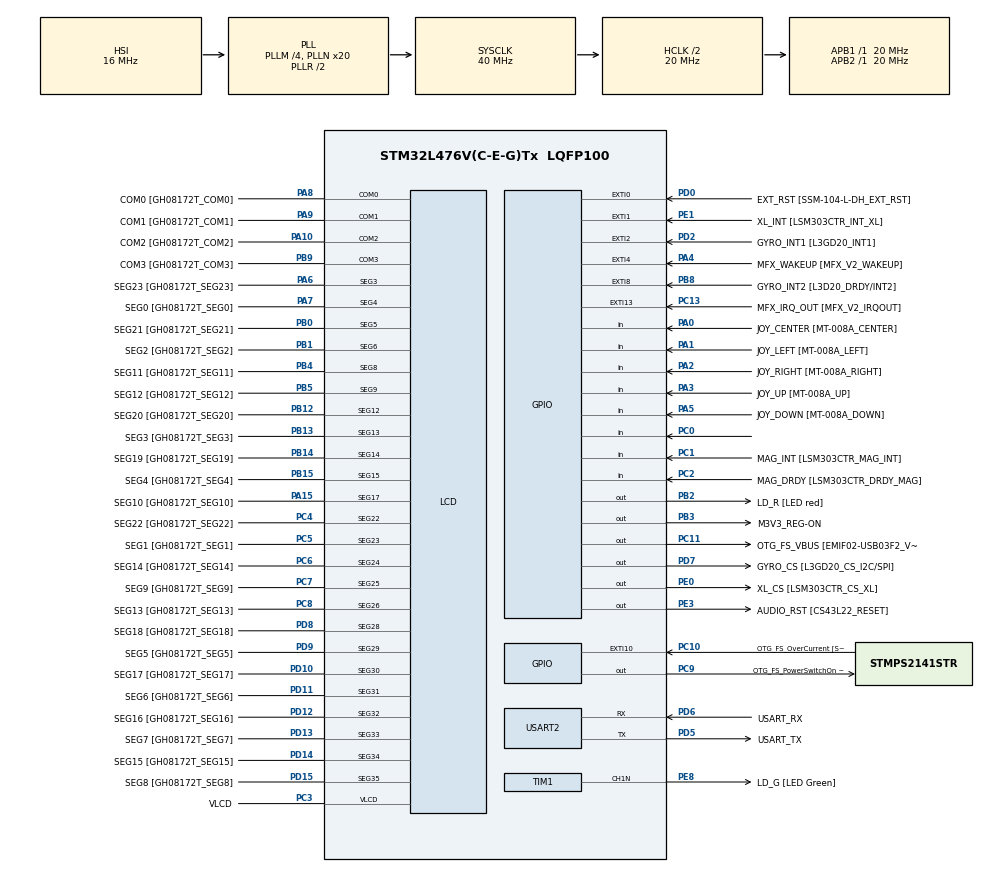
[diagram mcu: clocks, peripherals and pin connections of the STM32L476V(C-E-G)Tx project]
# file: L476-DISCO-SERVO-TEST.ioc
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Mcu.Family=STM32L4
Mcu.Name=STM32L476V(C-E-G)Tx
Mcu.Package=LQFP100
NVIC.PriorityGroup=NVIC_PRIORITYGROUP_4
PA0.GPIO_Label=JOY_CENTER [MT-008A_CENTER]
PA0.GPIO_Mode=GPIO_MODE_INPUT
PA0.GPIO_PuPd=GPIO_PULLDOWN
PA0.Signal=GPIO_Input
PA1.GPIO_Label=JOY_LEFT [MT-008A_LEFT]
PA1.GPIO_Mode=GPIO_MODE_INPUT
PA1.GPIO_PuPd=GPIO_PULLDOWN
PA1.Signal=GPIO_Input
PA10.GPIO_Label=COM2 [GH08172T_COM2]
PA10.GPIO_Mode=GPIO_MODE_AF_PP
PA10.GPIO_PuPd=GPIO_NOPULL
PA10.GPIO_Speed=GPIO_SPEED_FREQ_LOW
PA10.Mode=1/4 Duty Cycle
PA10.Signal=LCD_COM2
PA13\ (JTMS-SWDIO).GPIO_Label=SWDIO
PA13\ (JTMS-SWDIO).Mode=Serial_Wire
PA13\ (JTMS-SWDIO).Signal=SYS_JTMS-SWDIO
PA14\ (JTCK-SWCLK).GPIO_Label=SWCLK
PA14\ (JTCK-SWCLK).Mode=Serial_Wire
PA14\ (JTCK-SWCLK).Signal=SYS_JTCK-SWCLK
PA15\ (JTDI).GPIO_Label=SEG10 [GH08172T_SEG10]
PA15\ (JTDI).GPIO_Mode=GPIO_MODE_AF_PP
PA15\ (JTDI).GPIO_PuPd=GPIO_NOPULL
PA15\ (JTDI).GPIO_Speed=GPIO_SPEED_FREQ_LOW
PA15\ (JTDI).Mode=SEG17
PA15\ (JTDI).Signal=LCD_SEG17
PA2.GPIO_Label=JOY_RIGHT [MT-008A_RIGHT]
PA2.GPIO_Mode=GPIO_MODE_INPUT
PA2.GPIO_PuPd=GPIO_PULLDOWN
PA2.Signal=GPIO_Input
PA3.GPIO_Label=JOY_UP [MT-008A_UP]
PA3.GPIO_Mode=GPIO_MODE_INPUT
PA3.GPIO_PuPd=GPIO_PULLDOWN
PA3.Signal=GPIO_Input
PA4.GPIO_Label=MFX_WAKEUP [MFX_V2_WAKEUP]
PA4.GPIO_ModeDefaultEXTI=GPIO_MODE_EVT_RISING
PA4.GPIO_PuPd=GPIO_NOPULL
PA4.Signal=GPXTI4
PA5.GPIO_Label=JOY_DOWN [MT-008A_DOWN]
PA5.GPIO_Mode=GPIO_MODE_INPUT
PA5.GPIO_PuPd=GPIO_PULLDOWN
PA5.Signal=GPIO_Input
PA6.GPIO_Label=SEG23 [GH08172T_SEG23]
PA6.GPIO_Mode=GPIO_MODE_AF_PP
PA6.GPIO_PuPd=GPIO_NOPULL
PA6.GPIO_Speed=GPIO_SPEED_FREQ_LOW
PA6.Mode=SEG3
PA6.Signal=LCD_SEG3
PA7.GPIO_Label=SEG0 [GH08172T_SEG0]
PA7.GPIO_Mode=GPIO_MODE_AF_PP
PA7.GPIO_PuPd=GPIO_NOPULL
PA7.GPIO_Speed=GPIO_SPEED_FREQ_LOW
PA7.Mode=SEG4
PA7.Signal=LCD_SEG4
PA8.GPIO_Label=COM0 [GH08172T_COM0]
PA8.GPIO_Mode=GPIO_MODE_AF_PP
PA8.GPIO_PuPd=GPIO_NOPULL
PA8.GPIO_Speed=GPIO_SPEED_FREQ_LOW
PA8.Mode=1/4 Duty Cycle
PA8.Signal=LCD_COM0
PA9.GPIO_Label=COM1 [GH08172T_COM1]
PA9.GPIO_Mode=GPIO_MODE_AF_PP
PA9.GPIO_PuPd=GPIO_NOPULL
PA9.GPIO_Speed=GPIO_SPEED_FREQ_LOW
PA9.Mode=1/4 Duty Cycle
PA9.Signal=LCD_COM1
PB0.GPIO_Label=SEG21 [GH08172T_SEG21]
PB0.GPIO_Mode=GPIO_MODE_AF_PP
PB0.GPIO_PuPd=GPIO_NOPULL
PB0.GPIO_Speed=GPIO_SPEED_FREQ_LOW
PB0.Mode=SEG5
PB0.Signal=LCD_SEG5
PB1.GPIO_Label=SEG2 [GH08172T_SEG2]
PB1.GPIO_Mode=GPIO_MODE_AF_PP
PB1.GPIO_PuPd=GPIO_NOPULL
PB1.GPIO_Speed=GPIO_SPEED_FREQ_LOW
PB1.Mode=SEG6
PB1.Signal=LCD_SEG6
PB12.GPIO_Label=SEG20 [GH08172T_SEG20]
PB12.GPIO_Mode=GPIO_MODE_AF_PP
PB12.GPIO_PuPd=GPIO_NOPULL
PB12.GPIO_Speed=GPIO_SPEED_FREQ_LOW
PB12.Mode=SEG12
PB12.Signal=LCD_SEG12
PB13.GPIO_Label=SEG3 [GH08172T_SEG3]
PB13.GPIO_Mode=GPIO_MODE_AF_PP
PB13.GPIO_PuPd=GPIO_NOPULL
PB13.GPIO_Speed=GPIO_SPEED_FREQ_LOW
PB13.Mode=SEG13
PB13.Signal=LCD_SEG13
PB14.GPIO_Label=SEG19 [GH08172T_SEG19]
PB14.GPIO_Mode=GPIO_MODE_AF_PP
PB14.GPIO_PuPd=GPIO_NOPULL
PB14.GPIO_Speed=GPIO_SPEED_FREQ_LOW
PB14.Mode=SEG14
PB14.Signal=LCD_SEG14
PB15.GPIO_Label=SEG4 [GH08172T_SEG4]
PB15.GPIO_Mode=GPIO_MODE_AF_PP
PB15.GPIO_PuPd=GPIO_NOPULL
PB15.GPIO_Speed=GPIO_SPEED_FREQ_LOW
PB15.Mode=SEG15
PB15.Signal=LCD_SEG15
PB2.GPIO_Label=LD_R [LED red]
PB2.GPIO_ModeDefaultOutputPP=GPIO_MODE_OUTPUT_PP
PB2.GPIO_PuPd=GPIO_PULLUP
PB2.GPIO_Speed=GPIO_SPEED_FREQ_VERY_HIGH
PB2.Signal=GPIO_Output
PB3\ (JTDO-TRACESWO).GPIO_Label=M3V3_REG-ON
PB3\ (JTDO-TRACESWO).GPIO_ModeDefaultOutputPP=GPIO_MODE_OUTPUT_PP
PB3\ (JTDO-TRACESWO).GPIO_PuPd=GPIO_NOPULL
PB3\ (JTDO-TRACESWO).GPIO_Speed=GPIO_SPEED_FREQ_LOW
PB3\ (JTDO-TRACESWO).Signal=GPIO_Output
PB4\ (NJTRST).GPIO_Label=SEG11 [GH08172T_SEG11]
PB4\ (NJTRST).GPIO_Mode=GPIO_MODE_AF_PP
PB4\ (NJTRST).GPIO_PuPd=GPIO_NOPULL
PB4\ (NJTRST).GPIO_Speed=GPIO_SPEED_FREQ_LOW
PB4\ (NJTRST).Mode=SEG8
PB4\ (NJTRST).Signal=LCD_SEG8
PB5.GPIO_Label=SEG12 [GH08172T_SEG12]
PB5.GPIO_Mode=GPIO_MODE_AF_PP
PB5.GPIO_PuPd=GPIO_NOPULL
PB5.GPIO_Speed=GPIO_SPEED_FREQ_LOW
PB5.Mode=SEG9
PB5.Signal=LCD_SEG9
PB8.GPIO_Label=GYRO_INT2 [L3D20_DRDY/INT2]
PB8.GPIO_ModeDefaultEXTI=GPIO_MODE_EVT_RISING
PB8.GPIO_PuPd=GPIO_NOPULL
PB8.Signal=GPXTI8
PB9.GPIO_FM9=__NULL
PB9.GPIO_Label=COM3 [GH08172T_COM3]
PB9.GPIO_Mode=GPIO_MODE_AF_PP
PB9.GPIO_PuPd=GPIO_NOPULL
PB9.GPIO_Speed=GPIO_SPEED_FREQ_LOW
PB9.Mode=1/4 Duty Cycle
PB9.Signal=LCD_COM3
PC0.Signal=GPIO_Input
PC1.GPIO_Label=MAG_INT [LSM303CTR_MAG_INT]
PC1.GPIO_Mode=GPIO_MODE_INPUT
PC1.GPIO_PuPd=GPIO_NOPULL
PC1.Signal=GPIO_Input
PC10.GPIO_Label=OTG_FS_OverCurrent [STMPS2141STR_FAULT]
PC10.GPIO_ModeDefaultEXTI=GPIO_MODE_EVT_RISING
PC10.GPIO_PuPd=GPIO_NOPULL
PC10.Signal=GPXTI10
PC11.GPIO_Label=OTG_FS_VBUS [EMIF02-USB03F2_Vbus]
PC11.GPIO_ModeDefaultOutputPP=GPIO_MODE_OUTPUT_PP
PC11.GPIO_PuPd=GPIO_NOPULL
PC11.GPIO_Speed=GPIO_SPEED_FREQ_LOW
PC11.Signal=GPIO_Output
PC13.GPIO_Label=MFX_IRQ_OUT [MFX_V2_IRQOUT]
PC13.GPIO_ModeDefaultEXTI=GPIO_MODE_EVT_RISING
PC13.GPIO_PuPd=GPIO_NOPULL
PC13.Signal=GPXTI13
PC14-OSC32_IN\ (PC14).Mode=LSE-External-Oscillator
PC14-OSC32_IN\ (PC14).Signal=RCC_OSC32_IN
PC15-OSC32_OUT\ (PC15).Mode=LSE-External-Oscillator
PC15-OSC32_OUT\ (PC15).Signal=RCC_OSC32_OUT
PC2.GPIO_Label=MAG_DRDY [LSM303CTR_DRDY_MAG]
PC2.GPIO_Mode=GPIO_MODE_INPUT
PC2.GPIO_PuPd=GPIO_NOPULL
PC2.Signal=GPIO_Input
PC3.GPIO_Label=VLCD
PC3.GPIO_Mode=GPIO_MODE_AF_PP
PC3.GPIO_PuPd=GPIO_NOPULL
PC3.GPIO_Speed=GPIO_SPEED_FREQ_LOW
PC3.Mode=1/4 Duty Cycle
PC3.Signal=LCD_VLCD
PC4.GPIO_Label=SEG22 [GH08172T_SEG22]
PC4.GPIO_Mode=GPIO_MODE_AF_PP
PC4.GPIO_PuPd=GPIO_NOPULL
PC4.GPIO_Speed=GPIO_SPEED_FREQ_LOW
PC4.Mode=SEG22
PC4.Signal=LCD_SEG22
PC5.GPIO_Label=SEG1 [GH08172T_SEG1]
PC5.GPIO_Mode=GPIO_MODE_AF_PP
PC5.GPIO_PuPd=GPIO_NOPULL
PC5.GPIO_Speed=GPIO_SPEED_FREQ_LOW
PC5.Mode=SEG23
PC5.Signal=LCD_SEG23
PC6.GPIO_Label=SEG14 [GH08172T_SEG14]
PC6.GPIO_Mode=GPIO_MODE_AF_PP
PC6.GPIO_PuPd=GPIO_NOPULL
PC6.GPIO_Speed=GPIO_SPEED_FREQ_LOW
PC6.Mode=SEG24
PC6.Signal=LCD_SEG24
PC7.GPIO_Label=SEG9 [GH08172T_SEG9]
PC7.GPIO_Mode=GPIO_MODE_AF_PP
PC7.GPIO_PuPd=GPIO_NOPULL
PC7.GPIO_Speed=GPIO_SPEED_FREQ_LOW
PC7.Mode=SEG25
PC7.Signal=LCD_SEG25
PC8.GPIO_Label=SEG13 [GH08172T_SEG13]
PC8.GPIO_Mode=GPIO_MODE_AF_PP
PC8.GPIO_PuPd=GPIO_NOPULL
PC8.GPIO_Speed=GPIO_SPEED_FREQ_LOW
PC8.Mode=SEG26
PC8.Signal=LCD_SEG26
PC9.GPIO_Label=OTG_FS_PowerSwitchOn [STMPS2141STR_EN]
PC9.GPIO_ModeDefaultOutputPP=GPIO_MODE_OUTPUT_PP
PC9.GPIO_PuPd=GPIO_NOPULL
PC9.GPIO_Speed=GPIO_SPEED_FREQ_LOW
PC9.PinState=GPIO_PIN_SET
PC9.Signal=GPIO_Output
PD0.GPIO_Label=EXT_RST [SSM-104-L-DH_EXT_RST]
PD0.GPIO_ModeDefaultEXTI=GPIO_MODE_EVT_RISING
PD0.GPIO_PuPd=GPIO_NOPULL
PD0.Signal=GPXTI0
PD10.GPIO_Label=SEG17 [GH08172T_SEG17]
PD10.GPIO_Mode=GPIO_MODE_AF_PP
PD10.GPIO_PuPd=GPIO_NOPULL
PD10.GPIO_Speed=GPIO_SPEED_FREQ_LOW
PD10.Mode=SEG30
PD10.Signal=LCD_SEG30
PD11.GPIO_Label=SEG6 [GH08172T_SEG6]
PD11.GPIO_Mode=GPIO_MODE_AF_PP
PD11.GPIO_PuPd=GPIO_NOPULL
PD11.GPIO_Speed=GPIO_SPEED_FREQ_LOW
PD11.Mode=SEG31
PD11.Signal=LCD_SEG31
PD12.GPIO_Label=SEG16 [GH08172T_SEG16]
PD12.GPIO_Mode=GPIO_MODE_AF_PP
PD12.GPIO_PuPd=GPIO_NOPULL
PD12.GPIO_Speed=GPIO_SPEED_FREQ_LOW
PD12.Mode=SEG32
PD12.Signal=LCD_SEG32
PD13.GPIO_Label=SEG7 [GH08172T_SEG7]
PD13.GPIO_Mode=GPIO_MODE_AF_PP
PD13.GPIO_PuPd=GPIO_NOPULL
PD13.GPIO_Speed=GPIO_SPEED_FREQ_LOW
PD13.Mode=SEG33
PD13.Signal=LCD_SEG33
PD14.GPIO_Label=SEG15 [GH08172T_SEG15]
PD14.GPIO_Mode=GPIO_MODE_AF_PP
PD14.GPIO_PuPd=GPIO_NOPULL
PD14.GPIO_Speed=GPIO_SPEED_FREQ_LOW
PD14.Mode=SEG34
PD14.Signal=LCD_SEG34
PD15.GPIO_Label=SEG8 [GH08172T_SEG8]
PD15.GPIO_Mode=GPIO_MODE_AF_PP
PD15.GPIO_PuPd=GPIO_NOPULL
PD15.GPIO_Speed=GPIO_SPEED_FREQ_LOW
PD15.Mode=SEG35
PD15.Signal=LCD_SEG35
PD2.GPIO_Label=GYRO_INT1 [L3GD20_INT1]
PD2.GPIO_ModeDefaultEXTI=GPIO_MODE_EVT_RISING
PD2.GPIO_PuPd=GPIO_NOPULL
PD2.Signal=GPXTI2
PD5.GPIO_Label=USART_TX
PD5.GPIO_Mode=GPIO_MODE_AF_PP
PD5.GPIO_PuPd=GPIO_PULLUP
PD5.GPIO_Speed=GPIO_SPEED_FREQ_VERY_HIGH
PD5.Mode=Asynchronous
PD5.Signal=USART2_TX
PD6.GPIO_Label=USART_RX
PD6.GPIO_Mode=GPIO_MODE_AF_PP
PD6.GPIO_PuPd=GPIO_PULLUP
PD6.GPIO_Speed=GPIO_SPEED_FREQ_VERY_HIGH
PD6.Mode=Asynchronous
PD6.Signal=USART2_RX
PD7.GPIO_Label=GYRO_CS [L3GD20_CS_I2C/SPI]
PD7.GPIO_ModeDefaultOutputPP=GPIO_MODE_OUTPUT_PP
PD7.GPIO_PuPd=GPIO_NOPULL
PD7.GPIO_Speed=GPIO_SPEED_FREQ_VERY_HIGH
PD7.Signal=GPIO_Output
PD8.GPIO_Label=SEG18 [GH08172T_SEG18]
PD8.GPIO_Mode=GPIO_MODE_AF_PP
PD8.GPIO_PuPd=GPIO_NOPULL
PD8.GPIO_Speed=GPIO_SPEED_FREQ_LOW
PD8.Mode=SEG28
PD8.Signal=LCD_SEG28
PD9.GPIO_Label=SEG5 [GH08172T_SEG5]
PD9.GPIO_Mode=GPIO_MODE_AF_PP
PD9.GPIO_PuPd=GPIO_NOPULL
PD9.GPIO_Speed=GPIO_SPEED_FREQ_LOW
PD9.Mode=SEG29
PD9.Signal=LCD_SEG29
PE0.GPIO_Label=XL_CS [LSM303CTR_CS_XL]
PE0.GPIO_ModeDefaultOutputPP=GPIO_MODE_OUTPUT_PP
PE0.GPIO_PuPd=GPIO_NOPULL
PE0.GPIO_Speed=GPIO_SPEED_FREQ_LOW
PE0.Signal=GPIO_Output
PE1.GPIO_Label=XL_INT [LSM303CTR_INT_XL]
PE1.GPIO_ModeDefaultEXTI=GPIO_MODE_EVT_RISING
PE1.GPIO_PuPd=GPIO_NOPULL
PE1.Signal=GPXTI1
PE3.GPIO_Label=AUDIO_RST [CS43L22_RESET]
PE3.GPIO_ModeDefaultOutputPP=GPIO_MODE_OUTPUT_PP
PE3.GPIO_PuPd=GPIO_NOPULL
PE3.GPIO_Speed=GPIO_SPEED_FREQ_HIGH
PE3.Signal=GPIO_Output
PE8.GPIO_Label=LD_G [LED Green]
PE8.Mode=PWM Generation1 CH1N
PE8.Signal=TIM1_CH1N
PH0-OSC_IN\ (PH0).Mode=HSE-External-Clock-Source
PH0-OSC_IN\ (PH0).Signal=RCC_OSC_IN
PH1-OSC_OUT\ (PH1).Signal=RCC_OSC_OUT
ProjectManager.HeapSize=0x200
ProjectManager.StackSize=0x400
ProjectManager.TargetToolchain=STM32CubeIDE
RCC.ADCFreq_Value=48000000
RCC.AHBCLKDivider=RCC_SYSCLK_DIV2
RCC.AHBFreq_Value=20000000
RCC.APB1Freq_Value=20000000
RCC.APB1TimFreq_Value=20000000
RCC.APB2Freq_Value=20000000
RCC.APB2TimFreq_Value=20000000
RCC.CortexFreq_Value=20000000
RCC.HCLKFreq_Value=20000000
RCC.HSE_VALUE=8000000
RCC.HSI_VALUE=16000000
RCC.MSIClockRange=RCC_MSIRANGE_8
RCC.MSI_VALUE=16000000
RCC.PLLM=4
RCC.PLLN=20
RCC.PLLSAI1N=24
RCC.PLLSourceVirtual=RCC_PLLSOURCE_HSI
RCC.PREFETCH_ENABLE=1
RCC.SYSCLKFreq_VALUE=40000000
RCC.SYSCLKSource=RCC_SYSCLKSOURCE_PLLCLK
RCC.USBFreq_Value=48000000
RCC.VCOOutputFreq_Value=80000000
TIM1.AutoReloadPreload=TIM_AUTORELOAD_PRELOAD_ENABLE
TIM1.Channel-PWM\ Generation1\ CH1N=TIM_CHANNEL_1
TIM1.Period=20000
TIM1.Prescaler=19
TIM1.Pulse-PWM\ Generation1\ CH1N=5000
USART2.VirtualMode-Asynchronous=VM_ASYNC
VP_TIM1_VS_ClockSourceINT.Mode=Internal
board=STM32L476G-DISCO

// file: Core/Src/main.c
/* USER CODE BEGIN Header */
/**
  ******************************************************************************
  * @file           : main.c
  * @brief          : Main program body
  ******************************************************************************
  * @attention
  *
  * Copyright (c) 2023 STMicroelectronics.
  * All rights reserved.
  *
  * This software is licensed under terms that can be found in the LICENSE file
  * in the root directory of this software component.
  * If no LICENSE file comes with this software, it is provided AS-IS.
  *
  ******************************************************************************
  */
/* USER CODE END Header */
#include "main.h"

/* USER CODE BEGIN Includes */
#include <stdlib.h>
#include "stm32l476g_discovery_glass_lcd.h"

/* USER CODE END Includes */

LCD_HandleTypeDef hlcd;

TIM_HandleTypeDef htim1;

UART_HandleTypeDef huart2;

void SystemClock_Config(void);
static void MX_GPIO_Init(void);
static void MX_LCD_Init(void);
static void MX_TIM1_Init(void);
static void MX_USART2_UART_Init(void);

int main(void)
{

  /* MCU Configuration--------------------------------------------------------*/

  /* Reset of all peripherals, Initializes the Flash interface and the Systick. */
  HAL_Init();

  /* Configure the system clock */
  SystemClock_Config();

  /* Initialize all configured peripherals */
  MX_GPIO_Init();
  MX_LCD_Init();
  MX_TIM1_Init();
  MX_USART2_UART_Init();
  /* USER CODE BEGIN 2 */
    int pwm = 1500;
    BSP_LCD_GLASS_Init();
    BSP_LCD_GLASS_Clear();
    HAL_TIM_Base_Start(&htim1);
    __HAL_TIM_SET_COMPARE(&htim1, TIM_CHANNEL_1, pwm);
    HAL_TIMEx_PWMN_Start(&htim1, TIM_CHANNEL_1);
  /* USER CODE END 2 */

  /* Infinite loop */
  /* USER CODE BEGIN WHILE */
#pragma clang diagnostic push
#pragma ide diagnostic ignored "EndlessLoop"
    char txt[10];
    JOYState_TypeDef old_state = JOY_NONE;
    while (1) {
        JOYState_TypeDef new_state = BSP_JOY_GetState();
        if (new_state != old_state) {
            old_state = new_state;
            switch (new_state) {
                case JOY_NONE:
                    break;
                case JOY_SEL:
                    pwm = 1500;
                    break;
                case JOY_LEFT:
                    pwm -= 50;
                    break;
                case JOY_RIGHT:
                    pwm += 50;
                    break;
                case JOY_DOWN:
                    pwm -= 150;
                    break;
                case JOY_UP:
                    pwm += 150;
                    break;
            }
        }
        while (pwm > 2000) pwm -= 1000;
        while (pwm < 1000) pwm += 1000;
        __HAL_TIM_SET_COMPARE(&htim1, TIM_CHANNEL_1, pwm);
        itoa(pwm, txt, 10);
        BSP_LCD_GLASS_DisplayString((uint8_t *) txt);

    /* USER CODE END WHILE */

    /* USER CODE BEGIN 3 */
    }
#pragma clang diagnostic pop
  /* USER CODE END 3 */
}

void SystemClock_Config(void)
{
  RCC_OscInitTypeDef RCC_OscInitStruct = {0};
  RCC_ClkInitTypeDef RCC_ClkInitStruct = {0};

  /** Configure the main internal regulator output voltage
  */
  if (HAL_PWREx_ControlVoltageScaling(PWR_REGULATOR_VOLTAGE_SCALE1) != HAL_OK)
  {
    Error_Handler();
  }

  /** Initializes the RCC Oscillators according to the specified parameters
  * in the RCC_OscInitTypeDef structure.
  */
  RCC_OscInitStruct.OscillatorType = RCC_OSCILLATORTYPE_HSI|RCC_OSCILLATORTYPE_LSI;
  RCC_OscInitStruct.HSIState = RCC_HSI_ON;
  RCC_OscInitStruct.HSICalibrationValue = RCC_HSICALIBRATION_DEFAULT;
  RCC_OscInitStruct.LSIState = RCC_LSI_ON;
  RCC_OscInitStruct.PLL.PLLState = RCC_PLL_ON;
  RCC_OscInitStruct.PLL.PLLSource = RCC_PLLSOURCE_HSI;
  RCC_OscInitStruct.PLL.PLLM = 4;
  RCC_OscInitStruct.PLL.PLLN = 20;
  RCC_OscInitStruct.PLL.PLLP = RCC_PLLP_DIV7;
  RCC_OscInitStruct.PLL.PLLQ = RCC_PLLQ_DIV2;
  RCC_OscInitStruct.PLL.PLLR = RCC_PLLR_DIV2;
  if (HAL_RCC_OscConfig(&RCC_OscInitStruct) != HAL_OK)
  {
    Error_Handler();
  }

  /** Initializes the CPU, AHB and APB buses clocks
  */
  RCC_ClkInitStruct.ClockType = RCC_CLOCKTYPE_HCLK|RCC_CLOCKTYPE_SYSCLK
                              |RCC_CLOCKTYPE_PCLK1|RCC_CLOCKTYPE_PCLK2;
  RCC_ClkInitStruct.SYSCLKSource = RCC_SYSCLKSOURCE_PLLCLK;
  RCC_ClkInitStruct.AHBCLKDivider = RCC_SYSCLK_DIV2;
  RCC_ClkInitStruct.APB1CLKDivider = RCC_HCLK_DIV1;
  RCC_ClkInitStruct.APB2CLKDivider = RCC_HCLK_DIV1;

  if (HAL_RCC_ClockConfig(&RCC_ClkInitStruct, FLASH_LATENCY_1) != HAL_OK)
  {
    Error_Handler();
  }
}

static void MX_LCD_Init(void)
{

  hlcd.Instance = LCD;
  hlcd.Init.Prescaler = LCD_PRESCALER_1;
  hlcd.Init.Divider = LCD_DIVIDER_16;
  hlcd.Init.Duty = LCD_DUTY_1_4;
  hlcd.Init.Bias = LCD_BIAS_1_4;
  hlcd.Init.VoltageSource = LCD_VOLTAGESOURCE_INTERNAL;
  hlcd.Init.Contrast = LCD_CONTRASTLEVEL_0;
  hlcd.Init.DeadTime = LCD_DEADTIME_0;
  hlcd.Init.PulseOnDuration = LCD_PULSEONDURATION_0;
  hlcd.Init.MuxSegment = LCD_MUXSEGMENT_DISABLE;
  hlcd.Init.BlinkMode = LCD_BLINKMODE_OFF;
  hlcd.Init.BlinkFrequency = LCD_BLINKFREQUENCY_DIV8;
  hlcd.Init.HighDrive = LCD_HIGHDRIVE_DISABLE;
  if (HAL_LCD_Init(&hlcd) != HAL_OK)
  {
    Error_Handler();
  }

}

static void MX_TIM1_Init(void)
{

  TIM_ClockConfigTypeDef sClockSourceConfig = {0};
  TIM_MasterConfigTypeDef sMasterConfig = {0};
  TIM_OC_InitTypeDef sConfigOC = {0};
  TIM_BreakDeadTimeConfigTypeDef sBreakDeadTimeConfig = {0};

  htim1.Instance = TIM1;
  htim1.Init.Prescaler = 19;
  htim1.Init.CounterMode = TIM_COUNTERMODE_UP;
  htim1.Init.Period = 20000;
  htim1.Init.ClockDivision = TIM_CLOCKDIVISION_DIV1;
  htim1.Init.RepetitionCounter = 0;
  htim1.Init.AutoReloadPreload = TIM_AUTORELOAD_PRELOAD_ENABLE;
  if (HAL_TIM_Base_Init(&htim1) != HAL_OK)
  {
    Error_Handler();
  }
  sClockSourceConfig.ClockSource = TIM_CLOCKSOURCE_INTERNAL;
  if (HAL_TIM_ConfigClockSource(&htim1, &sClockSourceConfig) != HAL_OK)
  {
    Error_Handler();
  }
  if (HAL_TIM_PWM_Init(&htim1) != HAL_OK)
  {
    Error_Handler();
  }
  sMasterConfig.MasterOutputTrigger = TIM_TRGO_RESET;
  sMasterConfig.MasterOutputTrigger2 = TIM_TRGO2_RESET;
  sMasterConfig.MasterSlaveMode = TIM_MASTERSLAVEMODE_DISABLE;
  if (HAL_TIMEx_MasterConfigSynchronization(&htim1, &sMasterConfig) != HAL_OK)
  {
    Error_Handler();
  }
  sConfigOC.OCMode = TIM_OCMODE_PWM1;
  sConfigOC.Pulse = 5000;
  sConfigOC.OCPolarity = TIM_OCPOLARITY_HIGH;
  sConfigOC.OCNPolarity = TIM_OCNPOLARITY_HIGH;
  sConfigOC.OCFastMode = TIM_OCFAST_DISABLE;
  sConfigOC.OCIdleState = TIM_OCIDLESTATE_RESET;
  sConfigOC.OCNIdleState = TIM_OCNIDLESTATE_RESET;
  if (HAL_TIM_PWM_ConfigChannel(&htim1, &sConfigOC, TIM_CHANNEL_1) != HAL_OK)
  {
    Error_Handler();
  }
  sBreakDeadTimeConfig.OffStateRunMode = TIM_OSSR_DISABLE;
  sBreakDeadTimeConfig.OffStateIDLEMode = TIM_OSSI_DISABLE;
  sBreakDeadTimeConfig.LockLevel = TIM_LOCKLEVEL_OFF;
  sBreakDeadTimeConfig.DeadTime = 0;
  sBreakDeadTimeConfig.BreakState = TIM_BREAK_DISABLE;
  sBreakDeadTimeConfig.BreakPolarity = TIM_BREAKPOLARITY_HIGH;
  sBreakDeadTimeConfig.BreakFilter = 0;
  sBreakDeadTimeConfig.Break2State = TIM_BREAK2_DISABLE;
  sBreakDeadTimeConfig.Break2Polarity = TIM_BREAK2POLARITY_HIGH;
  sBreakDeadTimeConfig.Break2Filter = 0;
  sBreakDeadTimeConfig.AutomaticOutput = TIM_AUTOMATICOUTPUT_DISABLE;
  if (HAL_TIMEx_ConfigBreakDeadTime(&htim1, &sBreakDeadTimeConfig) != HAL_OK)
  {
    Error_Handler();
  }
  HAL_TIM_MspPostInit(&htim1);

}

static void MX_USART2_UART_Init(void)
{

  huart2.Instance = USART2;
  huart2.Init.BaudRate = 115200;
  huart2.Init.WordLength = UART_WORDLENGTH_8B;
  huart2.Init.StopBits = UART_STOPBITS_1;
  huart2.Init.Parity = UART_PARITY_NONE;
  huart2.Init.Mode = UART_MODE_TX_RX;
  huart2.Init.HwFlowCtl = UART_HWCONTROL_NONE;
  huart2.Init.OverSampling = UART_OVERSAMPLING_16;
  huart2.Init.OneBitSampling = UART_ONE_BIT_SAMPLE_DISABLE;
  huart2.AdvancedInit.AdvFeatureInit = UART_ADVFEATURE_NO_INIT;
  if (HAL_UART_Init(&huart2) != HAL_OK)
  {
    Error_Handler();
  }

}

static void MX_GPIO_Init(void)
{
  GPIO_InitTypeDef GPIO_InitStruct = {0};

  /* GPIO Ports Clock Enable */
  __HAL_RCC_GPIOE_CLK_ENABLE();
  __HAL_RCC_GPIOC_CLK_ENABLE();
  __HAL_RCC_GPIOH_CLK_ENABLE();
  __HAL_RCC_GPIOA_CLK_ENABLE();
  __HAL_RCC_GPIOB_CLK_ENABLE();
  __HAL_RCC_GPIOD_CLK_ENABLE();

  /*Configure GPIO pin Output Level */
  HAL_GPIO_WritePin(GPIOE, AUDIO_RST_Pin|XL_CS_Pin, GPIO_PIN_RESET);

  /*Configure GPIO pin Output Level */
  HAL_GPIO_WritePin(GPIOB, LD_R_Pin|M3V3_REG_ON_Pin, GPIO_PIN_RESET);

  /*Configure GPIO pin Output Level */
  HAL_GPIO_WritePin(OTG_FS_PowerSwitchOn_GPIO_Port, OTG_FS_PowerSwitchOn_Pin, GPIO_PIN_SET);

  /*Configure GPIO pin Output Level */
  HAL_GPIO_WritePin(OTG_FS_VBUS_GPIO_Port, OTG_FS_VBUS_Pin, GPIO_PIN_RESET);

  /*Configure GPIO pin Output Level */
  HAL_GPIO_WritePin(GYRO_CS_GPIO_Port, GYRO_CS_Pin, GPIO_PIN_RESET);

  /*Configure GPIO pin : AUDIO_RST_Pin */
  GPIO_InitStruct.Pin = AUDIO_RST_Pin;
  GPIO_InitStruct.Mode = GPIO_MODE_OUTPUT_PP;
  GPIO_InitStruct.Pull = GPIO_NOPULL;
  GPIO_InitStruct.Speed = GPIO_SPEED_FREQ_HIGH;
  HAL_GPIO_Init(AUDIO_RST_GPIO_Port, &GPIO_InitStruct);

  /*Configure GPIO pins : MFX_IRQ_OUT_Pin OTG_FS_OverCurrent_Pin */
  GPIO_InitStruct.Pin = MFX_IRQ_OUT_Pin|OTG_FS_OverCurrent_Pin;
  GPIO_InitStruct.Mode = GPIO_MODE_EVT_RISING;
  GPIO_InitStruct.Pull = GPIO_NOPULL;
  HAL_GPIO_Init(GPIOC, &GPIO_InitStruct);

  /*Configure GPIO pins : PC0 MAG_INT_Pin MAG_DRDY_Pin */
  GPIO_InitStruct.Pin = GPIO_PIN_0|MAG_INT_Pin|MAG_DRDY_Pin;
  GPIO_InitStruct.Mode = GPIO_MODE_INPUT;
  GPIO_InitStruct.Pull = GPIO_NOPULL;
  HAL_GPIO_Init(GPIOC, &GPIO_InitStruct);

  /*Configure GPIO pins : JOY_CENTER_Pin JOY_LEFT_Pin JOY_RIGHT_Pin JOY_UP_Pin
                           JOY_DOWN_Pin */
  GPIO_InitStruct.Pin = JOY_CENTER_Pin|JOY_LEFT_Pin|JOY_RIGHT_Pin|JOY_UP_Pin
                          |JOY_DOWN_Pin;
  GPIO_InitStruct.Mode = GPIO_MODE_INPUT;
  GPIO_InitStruct.Pull = GPIO_PULLDOWN;
  HAL_GPIO_Init(GPIOA, &GPIO_InitStruct);

  /*Configure GPIO pin : MFX_WAKEUP_Pin */
  GPIO_InitStruct.Pin = MFX_WAKEUP_Pin;
  GPIO_InitStruct.Mode = GPIO_MODE_EVT_RISING;
  GPIO_InitStruct.Pull = GPIO_NOPULL;
  HAL_GPIO_Init(MFX_WAKEUP_GPIO_Port, &GPIO_InitStruct);

  /*Configure GPIO pin : LD_R_Pin */
  GPIO_InitStruct.Pin = LD_R_Pin;
  GPIO_InitStruct.Mode = GPIO_MODE_OUTPUT_PP;
  GPIO_InitStruct.Pull = GPIO_PULLUP;
  GPIO_InitStruct.Speed = GPIO_SPEED_FREQ_VERY_HIGH;
  HAL_GPIO_Init(LD_R_GPIO_Port, &GPIO_InitStruct);

  /*Configure GPIO pins : OTG_FS_PowerSwitchOn_Pin OTG_FS_VBUS_Pin */
  GPIO_InitStruct.Pin = OTG_FS_PowerSwitchOn_Pin|OTG_FS_VBUS_Pin;
  GPIO_InitStruct.Mode = GPIO_MODE_OUTPUT_PP;
  GPIO_InitStruct.Pull = GPIO_NOPULL;
  GPIO_InitStruct.Speed = GPIO_SPEED_FREQ_LOW;
  HAL_GPIO_Init(GPIOC, &GPIO_InitStruct);

  /*Configure GPIO pins : EXT_RST_Pin GYRO_INT1_Pin */
  GPIO_InitStruct.Pin = EXT_RST_Pin|GYRO_INT1_Pin;
  GPIO_InitStruct.Mode = GPIO_MODE_EVT_RISING;
  GPIO_InitStruct.Pull = GPIO_NOPULL;
  HAL_GPIO_Init(GPIOD, &GPIO_InitStruct);

  /*Configure GPIO pin : GYRO_CS_Pin */
  GPIO_InitStruct.Pin = GYRO_CS_Pin;
  GPIO_InitStruct.Mode = GPIO_MODE_OUTPUT_PP;
  GPIO_InitStruct.Pull = GPIO_NOPULL;
  GPIO_InitStruct.Speed = GPIO_SPEED_FREQ_VERY_HIGH;
  HAL_GPIO_Init(GYRO_CS_GPIO_Port, &GPIO_InitStruct);

  /*Configure GPIO pin : M3V3_REG_ON_Pin */
  GPIO_InitStruct.Pin = M3V3_REG_ON_Pin;
  GPIO_InitStruct.Mode = GPIO_MODE_OUTPUT_PP;
  GPIO_InitStruct.Pull = GPIO_NOPULL;
  GPIO_InitStruct.Speed = GPIO_SPEED_FREQ_LOW;
  HAL_GPIO_Init(M3V3_REG_ON_GPIO_Port, &GPIO_InitStruct);

  /*Configure GPIO pin : GYRO_INT2_Pin */
  GPIO_InitStruct.Pin = GYRO_INT2_Pin;
  GPIO_InitStruct.Mode = GPIO_MODE_EVT_RISING;
  GPIO_InitStruct.Pull = GPIO_NOPULL;
  HAL_GPIO_Init(GYRO_INT2_GPIO_Port, &GPIO_InitStruct);

  /*Configure GPIO pin : XL_CS_Pin */
  GPIO_InitStruct.Pin = XL_CS_Pin;
  GPIO_InitStruct.Mode = GPIO_MODE_OUTPUT_PP;
  GPIO_InitStruct.Pull = GPIO_NOPULL;
  GPIO_InitStruct.Speed = GPIO_SPEED_FREQ_LOW;
  HAL_GPIO_Init(XL_CS_GPIO_Port, &GPIO_InitStruct);

  /*Configure GPIO pin : XL_INT_Pin */
  GPIO_InitStruct.Pin = XL_INT_Pin;
  GPIO_InitStruct.Mode = GPIO_MODE_EVT_RISING;
  GPIO_InitStruct.Pull = GPIO_NOPULL;
  HAL_GPIO_Init(XL_INT_GPIO_Port, &GPIO_InitStruct);

}

void Error_Handler(void)
{
  /* USER CODE BEGIN Error_Handler_Debug */
    /* User can add his own implementation to report the HAL error return state */
    __disable_irq();
#pragma clang diagnostic push
#pragma ide diagnostic ignored "EndlessLoop"
    while (1) {
    }
#pragma clang diagnostic pop
  /* USER CODE END Error_Handler_Debug */
}
